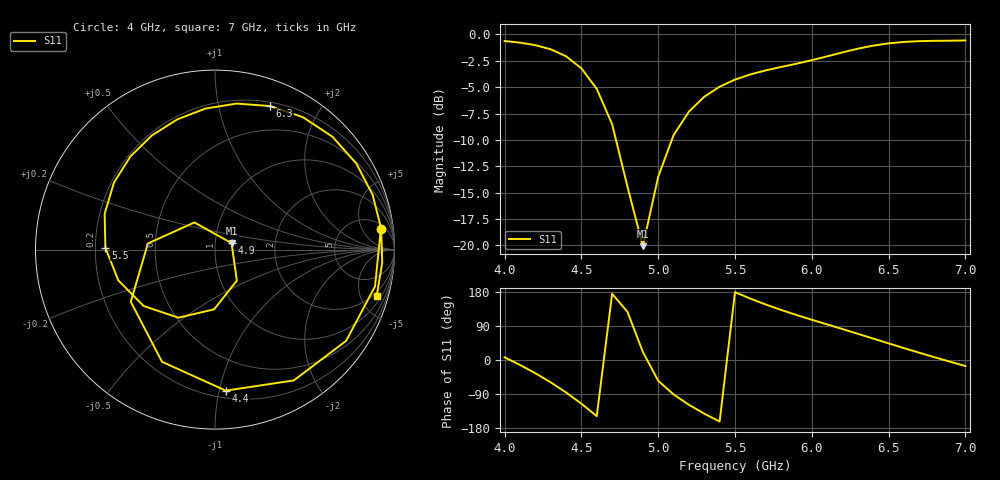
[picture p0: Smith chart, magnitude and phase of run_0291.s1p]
! Touchstone file exported from HFSS 2024.2.0
!  File:  C:/Users/wsak9/Desktop/Sim Fast/Widenad Patch/WP_AI_V1_sweep.aedt
!  Generated:  03:15:36 AM Oct 14, 2026
!  Design:  A1_model
!  Project:  WP_AI_V1_sweep
!  Setup:  Setup1
!  Solution:  Sweep
! Variables:
!  Air_gap = 3.59mm
!  Curve_Amp1 = 1.1
!  Curve_len1 = 1
!  Curve_pos = 11.645mm
!  Extra = 5.88mm
!  H_sub = 0.79mm
!  L_Patch = 19.29mm
!  L_Patch1 = 15.29mm
!  Sx = 2.08mm
!  Sy = 4.06mm
!  WS = 0.93mm
!  W_Patch = 20.79mm
!  W_Patch1 = 9.41mm
!Data is not renormalized
# GHz S MA
! Terminal data exported
! Port[1] = 1
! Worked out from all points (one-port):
!   31 points, 4 GHz to 7 GHz, reference per port
!   lowest |S11| = -20.1 dB at 4.9 GHz (marker M1), VSWR 1.22
!   |S11| at or under -10 dB: 4.725 GHz to 5.089 GHz (363.6 MHz wide, 7.41 % of centre)
!   S11 on the Smith chart (normalised r, x): 4 GHz: 7, +12; 4.4 GHz: 0.25, -1.05; 4.9 GHz: 1.20, +0.09; 5.5 GHz: 0.24, +0.01; 6.3 GHz: 0.24, +1.43; 7 GHz: 1.61, -6.77
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4  0.9311 7.1
4.1  0.9148 -13.0
4.2  0.8901 -34.8
4.3  0.8508 -58.9
4.4  0.7882 -85.6
4.5  0.6912 -115.3
4.6  0.5519 -148.2
4.7  0.3754 174.8
4.8  0.1897 127.1
4.9  0.09901 21.4
5  0.2114 -54.8
5.1  0.3328 -90.9
5.2  0.4306 -118.2
5.3  0.5067 -141.6
5.4  0.5654 -162.3
5.5  0.6108 179.0
5.6  0.6464 162.0
5.7  0.6755 146.4
5.9  0.7268 118.8
6.1  0.7876 93.9
6.2  0.8224 81.6
6.3  0.8563 69.1
6.4  0.8855 56.5
6.5  0.9076 43.9
6.6  0.922 31.4
6.7  0.9298 19.2
6.8  0.9331 7.2
7  0.937 -15.9
